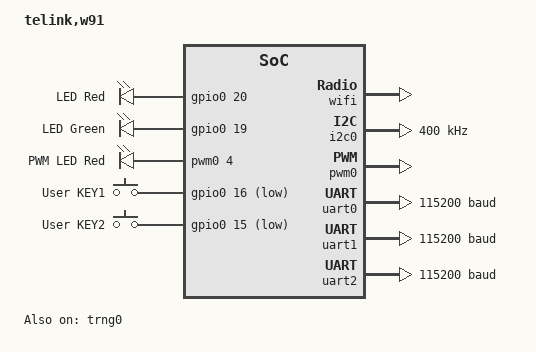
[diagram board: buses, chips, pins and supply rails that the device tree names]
/*
 * Copyright (c) 2023 Telink Semiconductor
 *
 * SPDX-License-Identifier: Apache-2.0
 */

/dts-v1/;

#include <freq.h>
#include <telink/telink_w91.dtsi>
#include "tlsr9118bdk40d-pinctrl.dtsi"

/ {
	model = "telink,w91";
	compatible = "telink,tlsr9118bdk40d";

	aliases {
		led0 = &led_red;
		led1 = &led_green;
		sw0 = &key_1;
		sw1 = &key_2;
		pwm-led0 = &pwm_led_red;
		pwm-0 = &pwm0;
	};

	leds {
		compatible = "gpio-leds";

		led_red: led_0 {
			gpios = <&gpio0 20 GPIO_ACTIVE_HIGH>;
			label = "LED Red";
		};

		led_green: led_1 {
			gpios = <&gpio0 19 GPIO_ACTIVE_HIGH>;
			label = "LED Green";
		};
	};

	pwm_leds {
		compatible = "pwm-leds";

		pwm_led_red: pwm_led_0 {
			pwms = <&pwm0 4 PWM_MSEC(20) PWM_POLARITY_NORMAL>;
			label = "PWM LED Red";
		};
	};

	/* Short TL_Key1 (J20 pin 11) to ground (J20 pin 25-35) */
	keys {
		compatible = "gpio-keys";

		key_1: button_1 {
			label = "User KEY1";
			gpios = <&gpio0 16 (GPIO_ACTIVE_LOW | GPIO_PULL_UP)>;
		};

		key_2: button_2 {
			label = "User KEY2";
			gpios = <&gpio0 15 (GPIO_ACTIVE_LOW | GPIO_PULL_UP)>;
		};
	};

	chosen {
/* Note: use RAM_DLM for ".ram_dlm" when a shared SRAM will be used for "zephyr,sram" */
		zephyr,console = &uart0;
		zephyr,shell-uart = &uart2;
		zephyr,sram = &ram_dlm;
		zephyr,flash = &flash;
		zephyr,flash-controller = &flash_mspi;
		telink,ipc-interface = &ipc0;
		zephyr,entropy = &trng0;
		zephyr,code-partition = &slot0_partition;
	};
};

&cpu0 {
	clock-frequency = <160000000>;
};

&wifi {
	status = "okay";
};

&flash {
	reg = <0x80000000 0x300000>;

	partitions {
		compatible = "fixed-partitions";
		#address-cells = <1>;
		#size-cells = <1>;

		boot_partition: partition@0 {
			label = "mcuboot";
			reg = <0x00000000 0x20000>;
		};
		slot0_partition: partition@20000 {
			label = "image-0";
			reg = <0x20000 0x68000>;
		};
		slot1_partition: partition@88000 {
			label = "image-1";
			reg = <0x88000 0x68000>;
		};
		scratch_partition: partition@f0000 {
			label = "image-scratch";
			reg = <0xf0000 0x4000>;
		};
		storage_partition: partition@f4000 {
			label = "storage";
			reg = <0xf4000 0xa000>;
		};
		vendor_partition: partition@fe000 {
			label = "vendor-data";
			reg = <0xfe000 0x2000>;
		};
	};
};

&trng0 {
	status = "okay";
};

&gpio0 {
	status = "okay";
};

&i2c0 {
	status = "okay";
	clock-frequency = <I2C_BITRATE_FAST>;
	pinctrl-0 = <&i2c0_scl_default &i2c0_sda_default>;
	pinctrl-names = "default";
};

&pwm0 {
	status = "okay";
	pinctrl-ch4 = <&pwm_ch4_p20_default>;
};

/* D25 Zephyr console output (J47 connector)*/
&uart0 {
	status = "okay";
	current-speed = <115200>;
};

/* N22 console output (J71 connector)*/
&uart1 {
	status = "okay";
	current-speed = <115200>;
};

&uart2 {
	status = "okay";
	pinctrl-0= <&uart2_tx_p16_default &uart2_rx_p15_default>;
	current-speed = <115200>;
	pinctrl-names = "default";
};
